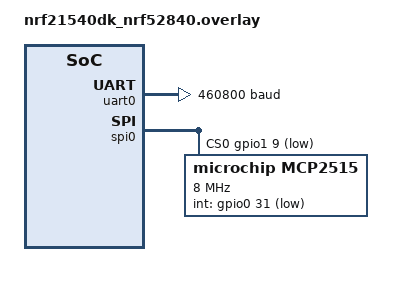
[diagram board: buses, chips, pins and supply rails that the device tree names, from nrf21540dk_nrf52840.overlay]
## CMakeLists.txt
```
# SPDX-License-Identifier: Apache-2.0

cmake_minimum_required(VERSION 3.20.0)
find_package(Zephyr REQUIRED HINTS $ENV{ZEPHYR_BASE})
project(central_multilink_custom_nRF21540)

set(KCONFIG_ROOT ${CMAKE_CURRENT_SOURCE_DIR}/Kconfig)

FILE(GLOB app_sources src/*.c)
target_sources(app PRIVATE ${app_sources})

zephyr_library_include_directories(${ZEPHYR_BASE}/samples/bluetooth)
target_include_directories(app PRIVATE ${CMAKE_CURRENT_SOURCE_DIR}/include)
```

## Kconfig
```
#
# Copyright (c) 2020 Nordic Semiconductor
#
# SPDX-License-Identifier: LicenseRef-Nordic-5-Clause
#

source "Kconfig.zephyr"
menu "Enhanced ShockBurst: Receiver"

config ESB_PRX_APP_LOG_LEVEL
	int "Log level for the ESB PRX sample"
	default 4

endmenu

menu "Custom SAADC Modes"

config HALL_MODE
    bool "Enable Hall sensor mode"
    default n
    help
      Enable this to use Hall_L and Hall_R channels for SAADC.

config CAN_MODE
    bool "Enable CAN sensor mode"
    default n
    help
      Enable this to use Can_L and Can_R channels for SAADC.

config EMG_MODE
    bool "Enable EMG sensor mode"
    default n
    help
      Enable this to use Sequence, Tibial Muscle, Gastrocnemius Muscle channels for SPI DRDY.

config CONTRALATERAL_MODE
    bool "Enable CONTRALATERAL_MODE"
    default n
    help
      Enable this to use Contralateral Mode.

config FIXED_MODE
    bool "Enable FIXED_MODE"
    default n
    help
      Enable this to use Fixed trajectory mode.

endmenu
```

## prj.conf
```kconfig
#
# Copyright (c) 2019 Nordic Semiconductor ASA
#
# SPDX-License-Identifier: LicenseRef-Nordic-5-Clause
#

CONFIG_NCS_SAMPLES_DEFAULTS=y
CONFIG_ESB=y
CONFIG_ESB_MAX_PAYLOAD_LENGTH=36
CONFIG_DK_LIBRARY=y
CONFIG_CLOCK_CONTROL=y

# ADC + NRFFX + SAADC
CONFIG_NRFX_SAADC=y
CONFIG_NRFX_GPPI=y
CONFIG_NRFX_TIMER1=y

# Main Thread Stack
CONFIG_MAIN_STACK_SIZE=4096

# Device
CONFIG_GPIO=y

# UART 
CONFIG_PRINTK=y
CONFIG_SERIAL=y
CONFIG_NRFX_UARTE0=y   # UART0 활성화 (필요 시)
CONFIG_UART_ASYNC_API=y
CONFIG_RING_BUFFER=y

# LOG
CONFIG_LOG=y
CONFIG_LOG_DEFAULT_LEVEL=2
CONFIG_LOG_MAX_LEVEL=4

CONFIG_LOG_MODE_MINIMAL=n
CONFIG_LOG_MODE_DEFERRED=y

CONFIG_USE_SEGGER_RTT=y
CONFIG_LOG_BACKEND_RTT=y

CONFIG_LOG_BACKEND_UART=n
CONFIG_UART_CONSOLE=n

# =========================
# 2. MPSL + FEM (nRF21540 DK)
# 보드가 21540 달려있는 걸로 돼 있어도
# 이 정도는 명시해두면 안전함
# =========================
CONFIG_MPSL=y
CONFIG_MPSL_FEM=y
CONFIG_MPSL_FEM_NRF21540_GPIO=y

# CAN
CONFIG_SPI=y
CONFIG_CAN=y
CONFIG_CAN_MCP2515=y

# Mode
CONFIG_HALL_MODE=y
CONFIG_CAN_MODE=y
CONFIG_EMG_MODE=y

# Control Mode
CONFIG_CONTRALATERAL_MODE=y
CONFIG_FIXED_MODE=n
```

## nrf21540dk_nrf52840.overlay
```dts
&i2c0 {
    status = "disabled";
};

&spi1 {
    status = "disabled";
};

&uart0 {
    status = "okay";
    current-speed = <460800>;
    compatible = "nordic,nrf-uarte";
};

&spi0 {
    compatible = "nordic,nrf-spi";
    status = "okay";

    pinctrl-0 = <&spi0_default>;
    pinctrl-1 = <&spi0_sleep>;
    pinctrl-names = "default", "sleep";

    cs-gpios = <&gpio1 9 GPIO_ACTIVE_LOW>;

    mcp2515: mcp2515@0 {
        compatible = "microchip,mcp2515";
        reg = <0>;
        spi-max-frequency = <8000000>;
        osc-freq = <16000000>;
        bitrate = <1000000>;
        sample-point = <750>;

        int-gpios = <&gpio0 31 GPIO_ACTIVE_LOW>;
        status = "okay";

        can-transceiver {
            compatible = "can-transceiver";
            #phy-cells = <0>;
            max-bitrate = <1000000>;
        };
    };
};

/ {
    chosen {
        zephyr,canbus = &mcp2515;
    };
};
```

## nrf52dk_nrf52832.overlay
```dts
// To get started, press Ctrl+Space to bring up the completion menu and view the available nodes.

// You can also use the buttons in the sidebar to perform actions on nodes.
// Actions currently available include:

// * Enabling / disabling the node
// * Adding the bus to a bus
// * Removing the node
// * Connecting ADC channels

// For more help, browse the DeviceTree documentation at https://docs.zephyrproject.org/latest/guides/dts/index.html
// You can also visit the nRF DeviceTree extension documentation at https://docs.nordicsemi.com/bundle/nrf-connect-vscode/page/guides/ncs_configure_app.html#devicetree-support-in-the-extension

// To get started, press Ctrl+Space to bring up the completion menu and view the available nodes.

// You can also use the buttons in the sidebar to perform actions on nodes.
// Actions currently available include:

// * Enabling / disabling the node
// * Adding the bus to a bus
// * Removing the node
// * Connecting ADC channels

// For more help, browse the DeviceTree documentation at https://docs.zephyrproject.org/latest/guides/dts/index.html
// You can also visit the nRF DeviceTree extension documentation at https://docs.nordicsemi.com/bundle/nrf-connect-vscode/page/guides/ncs_configure_app.html#devicetree-support-in-the-extension

&uart0 {
    status = "okay";
    current-speed = <115200>;
    compatible = "nordic,nrf-uarte";
};

&spi1 {
    status = "okay";
    pinctrl-0 = <&spi1_default>;
    pinctrl-1 = <&spi1_sleep>;
    pinctrl-names = "default", "sleep";
    cs-gpios = <&gpio0 4 GPIO_ACTIVE_LOW>;

    mcp2515: mcp2515@0 {
        compatible = "microchip,mcp2515";
        reg = <0>;
        spi-max-frequency = <8000000>;
        osc-freq = <16000000>;
        bitrate = <1000000>;
        sample-point = <750>;

        int-gpios = <&gpio0 12 GPIO_ACTIVE_LOW>;
        status = "okay";

        can-transceiver {
            compatible = "can-transceiver";
            #phy-cells = <0>;
            max-bitrate = <1000000>;
        };
    };
};

/ {
    chosen {
        zephyr,canbus = &mcp2515;
    };
};
```

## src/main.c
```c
/*
 * Copyright (c) 2018 Nordic Semiconductor ASA
 *
 * SPDX-License-Identifier: LicenseRef-Nordic-5-Clause
 */
#include <esb_rx.h>
#include <adc_sampler.h>
#include <can.h>
#include <sync_pin.h>

LOG_MODULE_REGISTER(main, LOG_LEVEL_INF);

int main(void)
{
	int err;
	LOG_INF("Start Project: PSH Rodent Exoskeleton");

	// HFCLK ON 
	err = clocks_start();
	if (err) {
		return 0;
	}
	k_busy_wait(200);

	// External synchronization trigger input.
	err = sync_pin_init();
	if (err) {
		LOG_ERR("Sync GPIO initialization failed, err %d", err);
		return err;
	}

	// ESB Setting
	err = esb_initialize();
	if (err) {
		LOG_ERR("ESB initialization failed, err %d", err);
		return 0;
	}

	// RX 시작
	err = esb_start_rx();
	if (err) {
		LOG_ERR("RX setup failed, err %d", err);
		return 0;
	}

	/* UART Init */
	int rc = uart_bridge_init();
    if (rc) {
        LOG_ERR("uart_bridge_init rc=%d\n", rc);
        return -1;  /* 실패 시 이후 경로 스킵 */
    }

	/* CAN Init */
	can_init();

	/* Controller Filter Init */
	control_filter_init();

	// SAADC Setup
	configure_timer();
	configure_saadc();
	configure_ppi();

	uint32_t prev_can_send_fail_count = 0;
	while(true){
		k_sleep(K_SECONDS(1));
		uint32_t can_send_fail_count = get_can_send_fail_count();
		LOG_INF("CAN send failed: last_1s=%u total=%u",
			can_send_fail_count - prev_can_send_fail_count,
			can_send_fail_count);
		prev_can_send_fail_count = can_send_fail_count;
		
		// LOG_INF("RX=%u LOSS=%u UNDER=%u EMG_SEQ_ERR=%u",
		// 		get_esb_rx_count(),
		// 		get_esb_rx_loss_count(),
		// 		get_esb_rx_underflow_count(),
		// 		get_esb_rx_emg_seq_error_count());
	}
	/* return to idle thread */
	return 0;
}
```

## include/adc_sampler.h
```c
#pragma once

// SSADC + PPI
#include <nrfx_saadc.h>
#include <nrfx_timer.h>
#include <helpers/nrfx_gppi.h>

#if defined(DPPI_PRESENT)
#include <nrfx_dppi.h>
#else
#include <nrfx_ppi.h>
#endif
#include <zephyr/kernel.h>
#include <torque_cyl.h>
#include <motor_control.h>
#include <esb_rx.h>

// ADC + SAADC
#define ADC_channel_num 1
#define SAADC_SAMPLE_INTERVAL_US 1000							 // 1000 us - 1 ms / 1 kHz
#define SAADC_BUFFER_SIZE 1	// 1 ms - 1 Sample - 정밀한 1 ms timer 구성 완료
#define SAADC_INPUT_PIN NRF_SAADC_INPUT_AIN0 // p0.02 nRF 52DK
// #define CENTRAL_RING_SIZE 4

// Timer
#define TIMER_INSTANCE_NUMBER 1

// Declare the struct to hold the configuration for the SAADC Channel used to sample the data
extern nrfx_saadc_channel_t channel;	 // 0 채널

// Declare an instance of nrfx_timer for TIMER2
extern const nrfx_timer_t timer_instance;
extern volatile float torque_f;

void configure_timer(void);
void saadc_event_handler(nrfx_saadc_evt_t const *p_event);
void configure_saadc(void);
void configure_ppi(void);
```

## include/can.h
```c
#pragma once
#include <zephyr/drivers/can.h>
#include <esb_rx.h>

/* === CANopen / EPOS4 상수들 (STM 코드에서 복사) === */
#define CAN_ID_MCU 0x000
#define CAN_ID_MOTOR1 0x001
#define CAN_ID_MOTOR2 0x002
#define CAN_ID_MOTOR3 0x003
#define CAN_ID_MOTOR4 0x004

#define COB_ID_SDO_TX  0x00000580
#define COB_ID_SDO_RX  0x00000600
#define COB_ID_PDO1_TX 0x00000180
#define COB_ID_PDO1_RX 0x00000200
#define COB_ID_PDO2_TX 0x00000280
#define COB_ID_PDO2_RX 0x00000300
#define COB_ID_PDO3_TX 0x00000380
#define COB_ID_PDO3_RX 0x00000400
#define COB_ID_PDO4_TX 0x00000480
#define COB_ID_PDO4_RX 0x00000500

#define CS_READ_OD          0x40
#define CS_WRITE_OD_4BYTES  0x23
#define CS_WRITE_OD_3BYTES  0x27
#define CS_WRITE_OD_2BYTES  0x2B
#define CS_WRITE_OD_1BYTES  0x2F
#define CS_NMT_ENTER_OP     0x01
#define CS_NMT_ENTER_PREOP  0x80

#define INDEX_RxPDO1_PAR 0x1400
#define INDEX_RxPDO1_MAP 0x1600
#define INDEX_TxPDO1_PAR 0x1800
#define INDEX_TxPDO1_MAP 0x1A00

#define INDEX_ModesOfOperation   0x6060
#define INDEX_TargetTorque       0x6071
#define INDEX_TargetVelocity     0x60FF
#define INDEX_MotorRatedTorque   0x6076
#define OBJ_Controlword          0x60400010
#define OBJ_TargetTorque         0x60710010

#define PROFILE_POSITION_MODE              1
#define PROFILE_VELOCITY_MODE              3
#define HOMING_MODE                        6
#define CYCLIC_SYNCHRONOUS_POSITION_MODE   8
#define CYCLIC_SYNCHRONOUS_VELOCITY_MODE   9
#define CYCLIC_SYNCHRONOUS_TORQUE_MODE     10

#define EPOS4_CMD_SDOWN   0x06
#define EPOS4_CMD_SWION   0x07
#define EPOS4_CMD_ENA_OP  0x0F
#define EPOS4_CMD_DIS_VOL 0x00
#define EPOS4_CMD_QSTOP   0x02
#define EPOS4_CMD_DIS_OP  0x07
#define EPOS4_CMD_FLT_RST 0x80

#define CAN_BITRATE_BPS 1000000  // 1 Mbps

extern const struct device *can_dev;

/* CAN TX Frame */
extern struct can_frame TxCAN;
extern struct can_frame TxCAN_CSV;

/* Motor feedback values */
extern int32_t actual_position;
extern int32_t actual_velocity;
extern volatile bool pos_updated;

/* CAN functions */
void can_init(void);

void setup_can_filters(void);
void send_frame(const struct can_frame *f);
uint32_t get_can_send_fail_count(void);
void Enable_operation(void);

void pack_sdo(struct can_frame *f, uint32_t cob_id,
                     uint8_t CS, uint16_t Index,
                     uint8_t Subindex, uint32_t Value);
void pack_pdo_Controlword(struct can_frame *f, uint32_t cob_id,
                                 uint16_t Controlword);
void pack_pdo_CSV(struct can_frame *f, uint32_t cob_id, int32_t velocity);
void pack_pdo_CST(struct can_frame *f, uint32_t cob_id, int16_t torque);

void unpack_rpy(const struct can_frame *frame);
void tx_callback(const struct device *dev, int error, void *user_data);
void rx_callback(const struct device *dev,
                        struct can_frame *frame,
                        void *user_data);
```

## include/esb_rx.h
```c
#pragma once

#include <zephyr/device.h>
#include <zephyr/devicetree.h>
#include <zephyr/drivers/clock_control.h>
#include <zephyr/drivers/clock_control/nrf_clock_control.h>
#include <zephyr/drivers/gpio.h>
#include <zephyr/irq.h>
#include <zephyr/logging/log.h>
#include <nrf.h>
#include <esb.h>
#include <zephyr/kernel.h>
#include <zephyr/types.h>
#include <math.h>

#include <torque_cyl.h>

#define RX_BUFFER_SIZE 1000

#define DATA_LENGTH 24
#define BILATERAL_DATA_LENGTH 36
#define PAYLOAD_FLAG_EMG_UNDERFLOW      BIT(0)
#define PAYLOAD_FLAG_EMG_SEQUENCE_ERROR BIT(1)

extern volatile float esb_qL;
extern volatile float esb_qR;

extern volatile float esb_torque_L;
extern volatile float esb_torque_R;

extern volatile int32_t esb_tb_emg_1;
extern volatile int32_t esb_gt_emg_1;
extern volatile int32_t esb_tb_emg_2;
extern volatile int32_t esb_gt_emg_2;

/* Right-side EMG; zero when receiving a unilateral packet. */
extern volatile int32_t esb_r_tb_emg_1;
extern volatile int32_t esb_r_gt_emg_1;
extern volatile int32_t esb_r_tb_emg_2;
extern volatile int32_t esb_r_gt_emg_2;

extern volatile bool esb_angle_ready;

int clocks_start(void);
int esb_initialize(void);

float deg2rad(float deg);
float rad2deg(float rad);

uint32_t get_esb_rx_count(void);
uint32_t get_esb_rx_underflow_count(void);
uint32_t get_esb_rx_emg_seq_error_count(void);
uint32_t get_esb_rx_loss_count(void);
```

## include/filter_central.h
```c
/*
 * filter.h
 *
 *  Created on: Jan 13, 2025
 *      Author: qoxmf
 */
#pragma once

#ifndef INC_FILTER_H_
#define INC_FILTER_H_

#include <math.h>
#include <stdint.h>
#include <stdlib.h>
#include <stdio.h>

// Low Pass Filter
#define SAMPLING_RATE 1000.0f // Sampling Frequency (1 kHz)
#define CUTOFF_FREQ 10.0f     // Default Cut-off Frequency
#define dt 1.0f/SAMPLING_RATE

// Filter Cut-off Frequency
#define cutoff_freqs_torque_axis 7.0
#define cutoff_freqs_motor_command 60
#define cutoff_freqs_hall 10.0
#define cutoff_freqs_hall_dot 10.0
#define cutoff_freqs_torque_can 10.0

// 필터 구조체 정의
typedef struct {
    float alpha;                // Filter Coefficient
    float prev_input;           // Previous input value
    float prev_output;          // Previous output value

    float *buffer;              // 데이터를 저장하는 버퍼 (가변 크기 지원)
    uint16_t buffer_size;       // 이동 평균 필터의 윈도우 크기
    uint16_t buffer_index;      // 현재 버퍼 인덱스
    float sum;                  // 합계 변수
} Filter;

extern float M_PI;

// 필터 초기화 및 사용 함수 선언
void Filter_Init(Filter *filter, float cutoff_freq, uint16_t window_size);
void Filter_Destroy(Filter *filter);
float Filter_Low_pass(Filter *filter, float input);
float Filter_Moving_Average(Filter *filter, float input);

#endif /* INC_FILTER_H_ */
```

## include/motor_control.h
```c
/*
 * motor_control.h
 *
 *  Created on: Nov 20, 2024
 *      Author: qoxmf
 */
#pragma once

#ifndef INC_MOTOR_CONTROL_H_
#define INC_MOTOR_CONTROL_H_

#include <zephyr/sys/atomic.h>
#include <float.h>
#include <stdbool.h>
#include <zephyr/sys/printk.h>

#include <filter_central.h>
#include <can.h>
#include <uart_bridge.h>
#include <esb_rx.h>
#include <torque_cyl.h>
#include <adc_sampler.h>
#include <trajectory_library.h>

#define SAMPLING_INTERVAL 0.001f 
#define TICKS_PER_DEGREE (4096.0f / 360.0f)
#define TICKS_PER_RADIAN (4096.0f / (2.0f * M_PI))
#define TICKS_TO_RADIAN ((2.0f * M_PI) / 4096.0f)
#define RAD_PER_SEC_TO_RPM (60.0f / (2.0f * M_PI))  // ≈ 9.5493f
#define RPM_TO_RAD_PER_SEC (2.0f * M_PI / 60.0f)

#define MOTOR_COMMAND_RATIO (100.0f / 0.263f) // [0.263 N.m - 100.0 %]
#define Pulley_Radius 12 // mm

// Motor Hardware Limit
#define MAXIMUM_VEL_RPM 250.0f //RPM
#define MAXIMUM_VEL (MAXIMUM_VEL_RPM * RPM_TO_RAD_PER_SEC) // rad/s
#define MAXIMUM_ACC_RPM 3000.0f // RPM/s
#define MAXIMUM_ACC (MAXIMUM_ACC_RPM * RPM_TO_RAD_PER_SEC) // rad/s^2

// Nominal Boundary
#define MAX_ACC_NOMINAL 300 // rad/s^2
#define theta_min_axial deg2rad(50)
#define theta_max_axial deg2rad(130)

// Acceleration Boundary Algorithm
#define at 0.01f

#if defined(CONFIG_HALL_MODE) && defined(CONFIG_CAN_MODE)
#define LOG_CHANNEL 6
#elif defined(CONFIG_HALL_MODE)
#define LOG_CHANNEL 4
#endif

/* Motor Controller Parameter */
// Position Boundary Limitation
#define qi 100	// ticks Fix - Soft margin
#define qs 0		// ticks Fix - 완충구간
#define xi 300 	// RPM 감속 시작점에서 허용되는 최대 속도 제한, Damping Coefficient
#define torque_clamp 0.000f

#if defined(CONFIG_CONTRALATERAL_MODE)

// Passivity Admittance Gain 
#define Kp_adm 10
#define K_adm 2 // 2
#define mirror_bias deg2rad(0)

/* Robust Gain */
#define	Kp 1500
#define	Kv 30

// /* Compliance Gain */
// #define	Kp 2500
// #define	Kv 15

extern float Nominal_I;
extern float Nominal_C;
extern float Nominal_K;

#elif defined(CONFIG_FIXED_MODE)
#define Kp_fixed 800
#define Kd_fixed 10
#endif

/* Oscillate 방지용 파라미터 */
// ===== Timing =====
#define CONTROL_DT_MS          1
#define OSC_WINDOW_MS          100
#define OSC_WINDOW_SIZE        (OSC_WINDOW_MS / CONTROL_DT_MS)

// 반측 운동성 검증 Window
#define CONTRA_WIN_MS     500
#define CONTRA_WIN_SIZE   (CONTRA_WIN_MS / CONTROL_DT_MS)

// ===== Power & Zero Crossing =====
#define POWER_THRESHOLD        10.0f     // |power| threshold
#define ZC_THRESHOLD           5          // zero crossing count
#define ZC_ENTER  4

// ===== Contra ankle activity =====
#define QDOT_R_QUIET_TH   0.3 // radian  
#define QDOT_R_ACTIVE_TH  1 // radian   

#define ZC_ENTER_MIN   3
#define ZC_ENTER_MAX   5   
#define ZC_EXIT   0

// Ring Buffer scale
#define buffer_scale 100 // radian * 100

// Admittance Controller Validation
#define MAX_ANGLE_DEG 25.0f
#define AMPLITUDE_TICKS (MAX_ANGLE_DEG * TICKS_PER_DEGREE)
#define FREQUENCY_HZ 1.0f
#define SAMPLE_TIME_MS 1000       // 1kHz

#define LEFT_MOTOR 0
#define RIGHT_MOTOR 1

// Admittance Controller
#define spring_zero 135*M_PI/180

/* Mirror Controller */
// #define MIN_PERIOD_MS 100 // 300 ms -> 0.3 s Right Maximum Cycle Period
#define MIN_PERIOD_MS 100 // 300 ms -> 0.3 s Right Maximum Cycle Period
#define MAX_PERIOD_MS 1500 // 750 ms -> 0.75 s Left Maximum Cycle Period

// #define MIN_OFFSET_MS 100 // 300 ms -> 0.3 s Right Maximum Cycle Period
#define MIN_OFFSET_MS 100 // 300 ms -> 0.3 s Right Maximum Cycle Period
#define MAX_OFFSET_MS 750 // 750 ms -> 0.75 s Left Maximum Cycle Period

#define ANG_BUF_CAP   1024
#define PERIOD_MED_K  1

// Duplicate Prevention Parameter
#define EMA_ALPHA	  0.1f //각도 EMA 필터 계수 (0.05 ~ 0.2 recommended)

// Hysterisis (rad/s) — 이전에 10 deg/s였다면 10*π/180 ≈ 0.1745 rad/s
#define VEL_HYST_RAD_S         0.15f 	// if noise big, increas, if lose peak, reduce
#define REFRACT_MS             100				 // Refractory Period - Ignore next peak detact before refractory period
#define OFFSET_SLEW_MS 		   1  			     // Offset update interval
#define PEAK_DIFF_THRESH    deg2rad(10.0f)   // 직전 Peak(+ -)과 이번에 감지된 Peak(+ -) 사이 높이 제한 threshold 인접한 peak의 작은 봉우리 제거 목적

#define offset_regression_a    0.43f
// #define offset_regression_b	   0.00f // Sec
#define offset_regression_b	   -0.05f

// Sine Trajectory
#define ADC_MIN   0.0f
#define ADC_MAX   4096.0f
#define F_MIN     1.0f     // 최소 1 Hz
#define F_MAX     3.0f     // 최대 3 Hz
#define F_STEP    0.1f    // 주파수 단위 간격
#define DF_MAX_PER_SEC  2.0f   // 주파수 변화 최대 속도 (Hz/s)
#define TWO_PI    6.28318530718f
#define SINE_BIAS 70

// Logging Parameter
#define LOG_BATCH_EXO      10   // 1 kHz * 10 ms
#define LOG_BATCH_EMG      20   // 2 kHz * 10 ms

#define LOG_EXO_CHANNEL    6    // qL, qR, qMirror, torque_axis, torque_can_L, torque_can_R
#define LOG_EMG_CHANNEL    4    // L_TB, L_GT, R_TB, R_GT

#if defined(CONFIG_CONTRALATERAL_MODE)
// Gait Trajectory
#define f_target 1
#elif defined(CONFIG_FIXED_MODE)
#define f_target 2
#endif

typedef struct
{
    /* ============================================
     * Initialize
     * ============================================ */
    bool init_done;

    /* ============================================
     * Joint Space Variables
     * ============================================ */
    float q_L, q_R, q_mirror, q_fixed;
    float q_prev_L, q_prev_R, q_prev_mirror, q_prev_q_fixed;
    float q_dot_L, q_dot_R, q_dot_mirror, q_dot_fixed;

    /* ============================================
     * EMG Variables
     * ============================================ */
    int32_t L_TB_1, L_TB_2, L_GT_1, L_GT_2;
    int32_t R_TB_1, R_TB_2, R_GT_1, R_GT_2;

    /* ============================================
     * Peak Detection (Right Joint)
     * ============================================ */
    bool was_vel_pos_r;
    bool was_vel_neg_r;

    uint32_t last_peak_r_ms;
    uint32_t last_peak_ms;

    float last_peak_q;
    uint8_t peak_valid;
    uint8_t peak_flag;

    /* Trough (옵션 – 지금은 미사용) */
    float last_trough_q;
    bool have_trough;

    /* ============================================
     * Gait Period Estimation
     * ============================================ */
    uint32_t refractory_util_r;
    uint32_t last_period_r_ms;
    uint32_t period_ms;

    uint16_t med_ms;
    uint8_t event_trigger;

    /* ============================================
     * Torque Variables
     * ============================================ */
    float torque_axis;
    float torque_ext_clamp;
    float torque_admittance;
    float torque_can_left;
    float torque_can_right;
    
    /* ============================================
     * Nominal Plant State
     * q, q_dot, q_ddot
     * ============================================ */
    float nominal_q_ddot;
    float nominal_q_dot;
    float nominal_q;

    /* ============================================
     * Mirror Offset Buffer
     * q history buffer for time-delay mirror gait
     * ============================================ */
    int16_t angle_buffer[ANG_BUF_CAP];

    volatile uint16_t head;     // next write index
    volatile uint32_t filled;   // number of valid entries

    /* Offset (ms) tracking */
    float offset_sec;
    volatile uint16_t offset_ms;        // current offset
    volatile uint16_t target_offset_ms; // target offset

    /* Period median buffer */
    uint32_t period_buf[PERIOD_MED_K];
    uint8_t  period_idx;
    uint8_t  period_count;

    /* ============================================
     * Motor Output Command
     * ============================================ */
    int32_t command_vel;

    /* ============================================
     * Motor Position Boundary
     * ============================================ */
    int32_t max_limit;
    int32_t min_limit;

    int32_t ticks_diff;
    int32_t initial_ticks_adm;
    float prev_ticks_diff;

    int32_t time;
    int32_t time_start;

    Filter torque_axis_filter;
    Filter motor_command_filter;
    Filter dot_filter_L;
    Filter dot_filter_R;

    Filter filter_L;
    Filter filter_R;

    Filter filter_L_can;
    Filter filter_R_can;
    Filter filter_scale;
} motor_control_state_t;

extern motor_control_state_t mc;

/* 모터 */
extern int8_t admittance_motor;

/* End Mirror Controller */
extern int8_t start_flag;
extern int8_t stop_flag;
extern uint8_t stop_flag_upper[2];
extern uint8_t stop_flag_lower[2];

extern const int16_t MAX_POSITION_LIMIT[2];
extern const int16_t MIN_POSITION_LIMIT[2];

extern float interpolation_coefficients[50][4];
extern const float normal_ankleAngles[100];

// Position Limit - Exo geometric parameter
extern float b[2];
extern float p[2];

extern const float b_can[2];
extern const float p_can[2];

extern const float b_ax[2];
extern const float p_ax[2];

// Sine 궤적 생성
extern float f_cur;    // 현재 주파수 (Hz)
extern float phase;    // 현재 위상 (rad)

extern float limit_unwind_ticks_An_left, limit_wind_ticks_An_left;
extern float limit_unwind_ticks_An_right, limit_wind_ticks_An_right;

// Controller Init
void control_init(void);
void control_filter_init(void);

// UART Test
void UART_Test_step(void);

// Control Cycle
void Mirror_complinace_control_step(const struct device *can_dev);

// Mirror Controller
static inline float compute_offset_sec(float period_sec);

// Position Limit
float L_Norm(float An_deg, uint8_t exo_type);
void Position_limit_torque_control(float An_rad, uint8_t exo_type);

#endif /* INC_MOTOR_CONTROL_H_ */
```

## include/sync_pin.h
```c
#pragma once

#include <zephyr/drivers/gpio.h>

/* External active-high trigger: P0.05, idle low. */
#define SYNC_PIN_PORT_NODE DT_NODELABEL(gpio0)
#define SYNC_PIN_NUMBER 5U
#define SYNC_PIN_INPUT_FLAGS (GPIO_INPUT | GPIO_PULL_DOWN)

int sync_pin_init(void);

/* Physical level (0/1), or a negative GPIO error code. */
int sync_pin_get_state(void);
```

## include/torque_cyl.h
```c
#pragma once

/*
 * axis.c
 *
 *  Created on: Feb 21, 2025
 *      Author: qoxmf
 */

/*
 * axis.h
 *
 *  Created on: Feb 21, 2025
 *      Author: qoxmf
 */


#include "filter_central.h"
#include "stdio.h"

typedef enum {
    CHAR_A = 0,
    CHAR_B,
    CHAR_C,
    CHAR_D,
    CHAR_L,
    CHAR_J,
    CHAR_M,
    CHAR_I,
    CHAR_N,
    CHAR_O,
    NUM_CHARACTERISTICS
} CharacteristicType;

typedef struct {
    int   adc_zero;   // ADC 오프셋
    float c_slope;    // 변환 기울기
} CharacteristicData;

extern CharacteristicData char_table[NUM_CHARACTERISTICS];

float Measured_Torque_axis(float adc);
float Measured_Torque_Character_cantilever(int16_t adc,
                                           CharacteristicType type);
```

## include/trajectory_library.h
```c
#ifndef TRAJECTORY_LIBRARY_H
#define TRAJECTORY_LIBRARY_H

#include <stdint.h>

#define TRAJ_SEGMENTS 50

/* ================= Rat ID 정의 ================= */
typedef enum
{
    RAT_TAG_11 = 0,
    RAT_TAG_8,
    RAT_TAG_7,
    RAT_TAG_5,
    RAT_TAG_6,
    RAT_TAG_12,
    RAT_COUNT          // 항상 마지막에 위치 (rat 개수 자동 계산)
} RatID;

/* ================= Breakpoints ================= */
extern const float break_points[TRAJ_SEGMENTS];

/* ================= Trajectory Coefficients ================= */
/* 구조: [rat][segment][a,b,c,d] */
extern const float trajectory_coeffs[RAT_COUNT][TRAJ_SEGMENTS][4];

/* ================= Trajectory Generator ================= */
float generate_trajectory(float x, RatID rat_id);

#endif
```

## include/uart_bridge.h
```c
#pragma once
#include <zephyr/device.h>
#include <zephyr/kernel.h>
#include <zephyr/sys/ring_buffer.h>
#include <zephyr/drivers/uart.h>
#include <zephyr/logging/log.h>
#include <motor_control.h>

/* ==========================================================
 * SAADC 버퍼 크기 설정
 * ----------------------------------------------------------
 * - Hall 모드만 또는 CAN 모드만 활성화 시 2채널 → 20샘플
 * - 두 모드 모두 활성화 시 4채널 → 40샘플
 * ========================================================== */
#if defined(CONFIG_HALL_MODE) && defined(CONFIG_CAN_MODE)
    #define SAADC_BUFFER_SIZE_UART 40
#elif defined(CONFIG_CONTROL_MODE)
    #define SAADC_BUFFER_SIZE_UART 30
#else
    #define SAADC_BUFFER_SIZE_UART 30
#endif
#define CENTRAL_SAADC_BUFFER_SIZE 10

#define FRAME_HEADER_LEN 4

/* EMG blocks: L_TB, L_GT, R_TB, R_GT; signed 24-bit big-endian. */
#define EMG_WIRE_SAMPLE_BYTES 3
/* Appended uint8_t block: physical level (0=Low, 1=High). */
#define SYNC_LOG_BYTES (LOG_BATCH_EXO * sizeof(uint8_t))
#define PAYLOAD_LEN \
    (LOG_BATCH_EXO * 6 * sizeof(int16_t) + \
     LOG_BATCH_EMG * LOG_EMG_CHANNEL * EMG_WIRE_SAMPLE_BYTES + \
     SYNC_LOG_BYTES)

#define FRAME_LEN (FRAME_HEADER_LEN + PAYLOAD_LEN)

#define RX_IDLE_TIMEOUT_MS 30
extern const struct device *uart_dev;

/* PC로 보낼 프레임(보드→PC) */
extern struct k_msgq uart_tx_q;

/* 초기화 */
int uart_bridge_init(void);

/* 큐에 넣은 뒤 다음 TX를 깨우기 */
void uart_tx_kick(void);
```

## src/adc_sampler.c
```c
#include <adc_sampler.h>

LOG_MODULE_REGISTER(adc_sampler, LOG_LEVEL_INF);

// Declare the buffers for the SAADC
int16_t saadc_sample_buffer[2][SAADC_BUFFER_SIZE];				 // DMA 용 Double Buffer 등으로 사용되는 실시간 SAADC 샘플 버퍼
const nrfx_timer_t timer_instance = NRFX_TIMER_INSTANCE(TIMER_INSTANCE_NUMBER);

uint32_t saadc_current_buffer = 0;
static nrfx_saadc_channel_t channel_cyl = NRFX_SAADC_DEFAULT_CHANNEL_SE(SAADC_INPUT_PIN, 0);	 // 0 채널

volatile float torque_f = 0.0f;
// K_WORK_DEFINE(ctrl_work, Mirror_complinace_control_step);
K_WORK_DEFINE(ctrl_work, Mirror_complinace_control_step);

void saadc_event_handler(nrfx_saadc_evt_t const *p_event)
{
	nrfx_err_t err;
	switch (p_event->type)
	{
	case NRFX_SAADC_EVT_READY:
		/* STEP 5.1 - Buffer is ready, timer (and sampling) can be started. */
		nrfx_timer_enable(&timer_instance);
		break;

	case NRFX_SAADC_EVT_BUF_REQ:
		err = nrfx_saadc_buffer_set(saadc_sample_buffer[(saadc_current_buffer++) % 2], SAADC_BUFFER_SIZE);
		if (err != NRFX_SUCCESS)
		{
			LOG_ERR("nrfx_saadc_buffer_set error: %08x", (unsigned int)err);
			return;
		}
		break;

	case NRFX_SAADC_EVT_DONE:
	{
		int16_t *buf = p_event->data.done.p_buffer;
	
		// Torque 정보만 전역 변수에 저장
		torque_f = (float) buf[0];

		// ESB 수신 시, Control Trigger 발동
		if (esb_angle_ready) {
			k_work_submit(&ctrl_work);
    	}
		break;
	}

	default:
		LOG_WRN("Unhandled SAADC evt %d", (int)p_event->type);
		break;
	}
}

void configure_saadc(void)
{
	nrfx_err_t err;
	IRQ_CONNECT(DT_IRQN(DT_NODELABEL(adc)),
				DT_IRQ(DT_NODELABEL(adc), priority),
				nrfx_isr, nrfx_saadc_irq_handler, 0);

	err = nrfx_saadc_init(DT_IRQ(DT_NODELABEL(adc), priority));
	if (err != NRFX_SUCCESS)
	{
		LOG_ERR("nrfx_saadc_init error: %08x", err);
		return;
	}

	channel_cyl.channel_config.gain = NRF_SAADC_GAIN1_6;

	nrfx_saadc_channel_t channels[1];
	channels[0] = channel_cyl;

	// 채널 구성
	err = nrfx_saadc_channels_config(channels, 1);
	if (err != NRFX_SUCCESS)
	{
		LOG_ERR("nrfx_saadc_channels_config error: %08x", err);
		return;
	}

	nrfx_saadc_adv_config_t saadc_adv_config = NRFX_SAADC_DEFAULT_ADV_CONFIG;
	err = nrfx_saadc_advanced_mode_set(BIT(0), 
									   NRF_SAADC_RESOLUTION_12BIT,
									   &saadc_adv_config,
									   saadc_event_handler); 
	if (err != NRFX_SUCCESS)
	{
		LOG_ERR("nrfx_saadc_advanced_mode_set error: %08x", err);
		return;
	}

	err = nrfx_saadc_buffer_set(saadc_sample_buffer[0], SAADC_BUFFER_SIZE);
	if (err != NRFX_SUCCESS)
	{
		LOG_ERR("nrfx_saadc_buffer_set error: %08x", err);
		return;
	}

	err = nrfx_saadc_buffer_set(saadc_sample_buffer[1], SAADC_BUFFER_SIZE);
	if (err != NRFX_SUCCESS)
	{
		LOG_ERR("nrfx_saadc_buffer_set error: %08x", err);
		return;
	}

	err = nrfx_saadc_mode_trigger();
	if (err != NRFX_SUCCESS)
	{
		LOG_ERR("nrfx_saadc_mode_trigger error: %08x", err);
		return;
	}

	LOG_INF("Clear Configure SAADC");
}

void configure_ppi(void)
{
	nrfx_err_t err;
    const uint8_t ppi_ch_sample = 10;   // Timer → SAMPLE
    const uint8_t ppi_ch_start  = 11;   // END → START

	nrfx_gppi_channels_disable(BIT(ppi_ch_sample));
	nrfx_gppi_channels_disable(BIT(ppi_ch_start));
	
	nrfx_gppi_channels_disable(BIT(ppi_ch_sample));
	nrfx_gppi_channels_disable(BIT(ppi_ch_start));
	
	nrfx_gppi_channel_endpoints_setup(ppi_ch_sample,
		nrfx_timer_compare_event_address_get(&timer_instance, NRF_TIMER_CC_CHANNEL0),
		nrf_saadc_task_address_get(NRF_SAADC, NRF_SAADC_TASK_SAMPLE));

	nrfx_gppi_channel_endpoints_setup(ppi_ch_start,
		nrf_saadc_event_address_get(NRF_SAADC, NRF_SAADC_EVENT_END),
		nrf_saadc_task_address_get(NRF_SAADC, NRF_SAADC_TASK_START));

	nrfx_gppi_channels_enable(BIT(ppi_ch_sample) | BIT(ppi_ch_start));
	
	LOG_INF("Clear Configure PPI");
}

void configure_timer(void)
{
	nrfx_err_t err;
	nrfx_timer_config_t timer_config = NRFX_TIMER_DEFAULT_CONFIG(1000000); // 1 MHz Timer

	err = nrfx_timer_init(&timer_instance, &timer_config, NULL); // no interrupt - NULL 타이머 이벤트만 만들고 인터럽트 발생 x
	if (err != NRFX_SUCCESS)
	{
		LOG_ERR("nrfx_timer_init error: %08x", err);
		return;
	}

	uint32_t timer_ticks = nrfx_timer_us_to_ticks(&timer_instance, SAADC_SAMPLE_INTERVAL_US);
	nrfx_timer_extended_compare(&timer_instance, NRF_TIMER_CC_CHANNEL0, timer_ticks, NRF_TIMER_SHORT_COMPARE0_CLEAR_MASK, false);
	LOG_INF("Clear Configure Timer");
}
```

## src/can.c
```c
#include <can.h>
#include <zephyr/sys/atomic.h>

LOG_MODULE_REGISTER(can, LOG_LEVEL_INF);

static atomic_t can_send_fail_count = ATOMIC_INIT(0);

uint32_t get_can_send_fail_count(void)
{
    return (uint32_t)atomic_get(&can_send_fail_count);
}

const struct device *can_dev = DEVICE_DT_GET(DT_CHOSEN(zephyr_canbus));

/* CAN 프레임 구조 */
struct can_frame TxCAN;
struct can_frame TxCAN_CSV;

int32_t actual_position = 0;
int32_t actual_velocity = 0;
volatile bool pos_updated = false;

void can_init(void){
	/* MCP2515 드라이버 준비 확인 */
    if (!device_is_ready(can_dev)) {
        LOG_WRN("MCP2515 not ready");
        return;
    }

    k_msleep(1); 

    /* 2) CAN 시작 */
    int ret = can_start(can_dev);
    if (ret) {
        LOG_WRN("can_start failed (%d)", ret);
        return;
    }
    k_msleep(1);

    setup_can_filters();
    k_msleep(1);

    /* EPOS4 설정 */
    pack_sdo(&TxCAN,
             COB_ID_SDO_RX + 1,
             CS_WRITE_OD_1BYTES,
             INDEX_ModesOfOperation,
             0,
             CYCLIC_SYNCHRONOUS_VELOCITY_MODE);
    LOG_INF("EPOS4: set ModesOfOperation (SDO)");
    send_frame(&TxCAN);
    k_msleep(10);

    // NMT Operational
    LOG_INF("EPOS4: send NMT Operational");
    pack_sdo(&TxCAN,
             0,
             CS_NMT_ENTER_OP,
             0x00, 0, 0);
    send_frame(&TxCAN);
    k_msleep(10);

    LOG_INF("EPOS4: Enable_operation()");
    Enable_operation();
    k_msleep(10);
}

/* ----------- SDO / PDO 패킹 함수 그대로 유지 ----------- */
void pack_sdo(struct can_frame *f, uint32_t cob_id,
                     uint8_t CS, uint16_t Index,
                     uint8_t Subindex, uint32_t Value)
{
    f->id    = cob_id;
    f->dlc   = 8;
    f->flags = 0;

    f->data[0] = CS;
    f->data[1] = Index & 0xFF;
    f->data[2] = Index >> 8;
    f->data[3] = Subindex;
    f->data[4] = Value & 0xFF;
    f->data[5] = (Value >> 8)  & 0xFF;
    f->data[6] = (Value >> 16) & 0xFF;
    f->data[7] = (Value >> 24) & 0xFF;
}

void pack_pdo_Controlword(struct can_frame *f, uint32_t cob_id,
                                 uint16_t Controlword)
{
    f->id    = cob_id;
    f->dlc   = 2;
    f->flags = 0;

    f->data[0] = Controlword & 0xFF;
    f->data[1] = (Controlword >> 8) & 0xFF;
}

void pack_pdo_CST(struct can_frame *f, uint32_t cob_id, int16_t torque)
{
    f->id    = cob_id;
    f->dlc   = 2;
    f->flags = 0;

    f->data[0] = torque & 0xFF;
    f->data[1] = (torque >> 8) & 0xFF;
}

void pack_pdo_CSV(struct can_frame *f, uint32_t cob_id, int32_t velocity)
{
    f->id    = cob_id;      // COB-ID 예: 0x300 + node_id
    f->dlc   = 4;           // CSV는 4바이트
    f->flags = 0;           // Standard CAN frame

    f->data[0] = velocity & 0xFF;
    f->data[1] = (velocity >> 8) & 0xFF;
    f->data[2] = (velocity >> 16) & 0xFF;
    f->data[3] = (velocity >> 24) & 0xFF;
}

/* ----------- EPOS4 PDO 수신 파싱 (모터 1번만) ----------- */
void unpack_rpy(const struct can_frame *frame)
{
    uint32_t id = frame->id;

    /* TxPDO2 (Actual Position) → ID = 0x280 + 1 = 0x281 */
    if (id == COB_ID_PDO2_TX + CAN_ID_MOTOR1)
    {
        actual_position =
            (frame->data[3] << 24) |
            (frame->data[2] << 16) |
            (frame->data[1] <<  8) |
             frame->data[0];

        pos_updated = true;
    }
    /* TxPDO3 (Actual Velocity) → ID = 0x380 + 1 = 0x381 */
    else if (id == COB_ID_PDO3_TX + CAN_ID_MOTOR1)
    {
        actual_velocity =
            (frame->data[3] << 24) |
            (frame->data[2] << 16) |
            (frame->data[1] <<  8) |
             frame->data[0];
    }
}

/* ----------- CAN 공통 함수 ----------- */
void tx_callback(const struct device *dev, int error, void *user_data)
{
    if (error != 0) {
        LOG_WRN("CAN TX error: %d", error);
    }
}

void send_frame(const struct can_frame *f)
{
    int ret = can_send(can_dev, (struct can_frame *)f,
                   K_NO_WAIT,            
                   tx_callback,      
                   NULL);                
    if (ret) {
        atomic_inc(&can_send_fail_count);
    }
}

void Enable_operation(void)
{
    int i = 1;  // 모터 1번만

    pack_pdo_Controlword(&TxCAN, COB_ID_PDO1_RX + i, EPOS4_CMD_FLT_RST);
    send_frame(&TxCAN);
    k_msleep(1);

    pack_pdo_Controlword(&TxCAN, COB_ID_PDO1_RX + i, EPOS4_CMD_SDOWN);
    send_frame(&TxCAN);
    k_msleep(1);

    pack_pdo_Controlword(&TxCAN, COB_ID_PDO1_RX + i, EPOS4_CMD_SWION);
    send_frame(&TxCAN);
    k_msleep(1);

    pack_pdo_Controlword(&TxCAN, COB_ID_PDO1_RX + i, EPOS4_CMD_ENA_OP);
    send_frame(&TxCAN);
    k_msleep(1);
}

/* RX 콜백 */
void rx_callback(const struct device *dev,
                        struct can_frame *frame,
                        void *user_data)
{
    unpack_rpy(frame);
}

/* 모든 메시지 수신 */
void setup_can_filters(void)
{
    struct can_filter filter = {
        .id    = 0x000,
        .mask  = 0x000,
        .flags = 0,
    };

    int filter_id = can_add_rx_filter(can_dev, rx_callback, NULL, &filter);
    if (filter_id < 0) {
        LOG_WRN("RX filter install failed (%d)", filter_id);
    } else {
        LOG_INF("RX filter installed: %d", filter_id);
    }
}
```

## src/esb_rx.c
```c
#include <esb_rx.h>
LOG_MODULE_REGISTER(esb_rx, LOG_LEVEL_INF);

static int16_t rx_buf_L[RX_BUFFER_SIZE];
static int16_t rx_buf_R[RX_BUFFER_SIZE];
static int rx_count = 0;

static int64_t last_print_time = 0;   // ms

volatile float esb_qL = 0.0f;
volatile float esb_qR = 0.0f;

volatile float esb_torque_L = 0.0f;
volatile float esb_torque_R = 0.0f;

volatile int32_t esb_tb_emg_1 = 0;
volatile int32_t esb_gt_emg_1 = 0;
volatile int32_t esb_tb_emg_2 = 0;
volatile int32_t esb_gt_emg_2 = 0;

/* Right-side samples are zero for unilateral packets. */
volatile int32_t esb_r_tb_emg_1 = 0;
volatile int32_t esb_r_gt_emg_1 = 0;
volatile int32_t esb_r_tb_emg_2 = 0;
volatile int32_t esb_r_gt_emg_2 = 0;

static volatile uint32_t esb_rx_count = 0;
static volatile uint32_t esb_rx_underflow_count = 0;
static volatile uint32_t esb_rx_emg_seq_error_count = 0;

static volatile uint32_t esb_rx_loss_count = 0;

static uint16_t last_seq = 0;
static bool first_packet = true;

// Control Step Trigger - ESB 데이터 수신 전까지 제어 시작 안함
volatile bool esb_angle_ready = false;

// RX 버퍼
static struct esb_payload rx_payload;
static inline int16_t bytes_to_i16(uint8_t high, uint8_t low)
{
    return (int16_t)((high << 8) | low);
}

static inline int32_t bytes_to_i24_be(const uint8_t *data)
{
    uint32_t value = ((uint32_t)data[0] << 16) |
                     ((uint32_t)data[1] << 8) |
                     (uint32_t)data[2];

    /* Sign-extend the ADS1294 two's-complement 24-bit sample. */
    return (int32_t)(value ^ 0x800000U) - 0x800000;
}

float deg2rad(float deg){
	return deg * (3.141592 / 180.0f);
}

float rad2deg(float rad){
	return rad * (180.0f / 3.141592f);
}

static uint16_t bytes_to_u16(uint8_t msb, uint8_t lsb)
{
    return ((uint16_t)msb << 8) | (uint16_t)lsb;
}

// ESB Driver에서 발생한 이벤트 받아 처리
static void event_handler(struct esb_evt const *event)
{
	switch (event->evt_id) {
	// ACK TX 성공
	case ESB_EVENT_TX_SUCCESS:
		LOG_DBG("TX SUCCESS EVENT");
		break;
	// TX 실패
	case ESB_EVENT_TX_FAILED:
		LOG_DBG("TX FAILED EVENT");
		break;
	// PTX -> PRX 패킷 도착
case ESB_EVENT_RX_RECEIVED:
    while (esb_read_rx_payload(&rx_payload) == 0) {

        if (rx_payload.length != DATA_LENGTH &&
            rx_payload.length != BILATERAL_DATA_LENGTH) {
            LOG_ERR("Invalid payload length! len=%d", rx_payload.length);
            continue;
        }

		esb_rx_count++;

		uint16_t seq = bytes_to_u16(rx_payload.data[0], rx_payload.data[1]);
		uint8_t flags = rx_payload.data[2];	

		int16_t L_Raw = bytes_to_i16(rx_payload.data[4], rx_payload.data[5]);
		int16_t R_Raw = bytes_to_i16(rx_payload.data[6], rx_payload.data[7]);

		int16_t L_torque = bytes_to_i16(rx_payload.data[8], rx_payload.data[9]);
		int16_t R_torque = bytes_to_i16(rx_payload.data[10], rx_payload.data[11]);

        if (flags & PAYLOAD_FLAG_EMG_UNDERFLOW) {
            esb_rx_underflow_count++;
        }

        if (flags & PAYLOAD_FLAG_EMG_SEQUENCE_ERROR) {
            esb_rx_emg_seq_error_count++;
        }

		if (first_packet) {

			first_packet = false;

		} else {

			uint16_t expected_seq = (uint16_t)(last_seq + 1);

			if (seq != expected_seq) {

				uint16_t lost =
					(uint16_t)(seq - expected_seq);

				esb_rx_loss_count += lost;
			}
		}

		last_seq = seq;

#if defined(CONFIG_HALL_MODE)

		esb_qL = deg2rad((float) L_Raw / 100.0f);
        esb_qR = deg2rad((float) R_Raw / 100.0f);

		// Print raw data
		// int16_t norm_qL = (float) L_Raw / 100.0f;
        // int16_t norm_qR = (float) R_Raw / 100.0f;
		// LOG_INF("%d %d", L_Raw, R_Raw);
		// LOG_INF("%d %d", norm_qL, norm_qR);
#endif

#if defined(CONFIG_CAN_MODE)
		// Scaling + 공유 변수 업데이트 - float atomic 읽기 race tracing 문제 해결
        esb_torque_L = Measured_Torque_Character_cantilever(L_torque, CHAR_M);
        esb_torque_R = Measured_Torque_Character_cantilever(R_torque, CHAR_O);

		// Calibration 용 ADC 값 출력
		// esb_torque_L = L_torque;
        // esb_torque_R = R_torque;

		// LOG_INF("%d %d", L_torque, R_torque);
        // esb_torque_L = (float) L_torque;
        // esb_torque_R = (float) R_torque;
#endif

#if defined(CONFIG_EMG_MODE)
        esb_tb_emg_1 = bytes_to_i24_be(&rx_payload.data[12]);
        esb_gt_emg_1 = bytes_to_i24_be(&rx_payload.data[15]);
        esb_tb_emg_2 = bytes_to_i24_be(&rx_payload.data[18]);
        esb_gt_emg_2 = bytes_to_i24_be(&rx_payload.data[21]);

        if (rx_payload.length == BILATERAL_DATA_LENGTH) {
            esb_r_tb_emg_1 = bytes_to_i24_be(&rx_payload.data[24]);
            esb_r_gt_emg_1 = bytes_to_i24_be(&rx_payload.data[27]);
            esb_r_tb_emg_2 = bytes_to_i24_be(&rx_payload.data[30]);
            esb_r_gt_emg_2 = bytes_to_i24_be(&rx_payload.data[33]);
        } else {
            esb_r_tb_emg_1 = 0;
            esb_r_gt_emg_1 = 0;
            esb_r_tb_emg_2 = 0;
            esb_r_gt_emg_2 = 0;
        }

		// LOG_INF("TB_EMG_1: %d, GT_EMG_1: %d", esb_tb_emg_1, esb_gt_emg_1);
#endif
		// Control Loop 수행 시작 준비 완료
		esb_angle_ready = true;   // 최신 각도 도착 표시

        // /* 버퍼 저장 */
        // if (rx_count < RX_BUFFER_SIZE) {
        //     rx_buf_L[rx_count] = L_Raw;
        //     rx_buf_R[rx_count] = R_Raw;
        //     rx_count++;
        // }

        // /* 1초 지났는지 체크하여 1000개 dump */
        // int64_t now = k_uptime_get();

        // if (now - last_print_time >= 1000) {
        //     last_print_time = now;

        //     /* 실제 수신 속도 계산 */
        //     int received = rx_count;
        //     float rx_rate_hz = received / 1.0f;   // 1초 기준

        //     LOG_INF("=== 1초 동안 수신된 패킷: %d개 ===",
        //             received);

        //     /* 원하는 형태로 dump (처음 5개만 예시로 표시) */
        //     for (int i = 0; i < MIN(received, 5); i++) {
        //         LOG_INF("[%d] L=%d, R=%d", i, rx_buf_L[i], rx_buf_R[i]);
        //     }

        //     /* 버퍼 리셋 */
        //     rx_count = 0;
        // }
    }
    break;
	}
}

// 고주파 (HF) 클록 시작 함수
#if defined(CONFIG_CLOCK_CONTROL_NRF)
int clocks_start(void)
{
	int err;
	int res;
	struct onoff_manager *clk_mgr;
	struct onoff_client clk_cli;

	clk_mgr = z_nrf_clock_control_get_onoff(CLOCK_CONTROL_NRF_SUBSYS_HF);
	if (!clk_mgr) {
		LOG_ERR("Unable to get the Clock manager");
		return -ENXIO;
	}

	sys_notify_init_spinwait(&clk_cli.notify);

	err = onoff_request(clk_mgr, &clk_cli);
	if (err < 0) {
		LOG_ERR("Clock request failed: %d", err);
		return err;
	}

	do {
		err = sys_notify_fetch_result(&clk_cli.notify, &res);
		if (!err && res) {
			LOG_ERR("Clock could not be started: %d", res);
			return res;
		}
	} while (err);

	LOG_INF("HF clock started");
	return 0;
}
#else
BUILD_ASSERT(false, "No Clock Control driver");
#endif /* defined(CONFIG_CLOCK_CONTROL_NRF2) */

// ESB 초기화 함수
int esb_initialize(void)
{
	int err;
	/* These are arbitrary default addresses. In end user products
	 * different addresses should be used for each set of devices.
	 */
	uint8_t base_addr_0[4] = {0xE7, 0xE7, 0xE7, 0xE7};
	uint8_t prefix[1] = {0xE7};

	struct esb_config config = ESB_DEFAULT_CONFIG;

	// DPL - Dynamic Payload Length - PTX PRX 보내는 패킷 다를 때 사용
	config.protocol = ESB_PROTOCOL_ESB_DPL;
	config.bitrate = ESB_BITRATE_2MBPS;
	config.mode = ESB_MODE_PRX;
	config.event_handler = event_handler;
	// True로 설정하면, 수신 즉시 자동 ACK 전송한다.
	config.selective_auto_ack = true;
	if (IS_ENABLED(CONFIG_ESB_FAST_SWITCHING)) {
		config.use_fast_ramp_up = true;
	}

	err = esb_init(&config);
	if (err) {
		return err;
	}

	err = esb_set_base_address_0(base_addr_0);
	if (err) {
		return err;
	}

	err = esb_set_prefixes(prefix, 1);
	if (err) {
		return err;
	}

	LOG_INF("Clear ESB Initialize"); 
	return 0;
}

uint32_t get_esb_rx_count(void)
{
    return esb_rx_count;
}

uint32_t get_esb_rx_underflow_count(void)
{
    return esb_rx_underflow_count;
}

uint32_t get_esb_rx_emg_seq_error_count(void)
{
    return esb_rx_emg_seq_error_count;
}

uint32_t get_esb_rx_loss_count(void)
{
    return esb_rx_loss_count;
}
```
